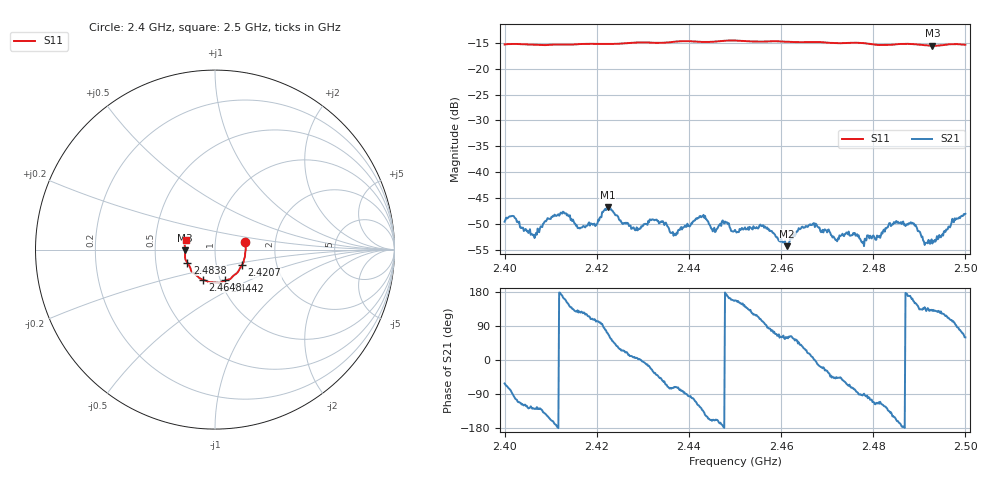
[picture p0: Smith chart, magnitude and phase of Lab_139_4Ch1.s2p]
# Hz S RI R 50
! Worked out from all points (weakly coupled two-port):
!   601 points, 2.4 GHz to 2.5 GHz, reference 50 ohm
!   highest |S21| = -46.81 dB at 2.4223 GHz (marker M1); lowest = -54.3 dB at 2.4613 GHz (marker M2)
!   lowest |S11| = -15.6 dB at 2.4928 GHz (marker M3), VSWR 1.40, Z = 35.7 - j0.341 ohm
!   |S11| at or under -10 dB: start of sweep to end of sweep
!   S12 and S22 are empty: the file has one direction only
!   S11 on the Smith chart (normalised r, x): 2.4 GHz: 1.39, +0.12; 2.4207 GHz: 1.33, -0.24; 2.4442 GHz: 1.05, -0.37; 2.4648 GHz: 0.83, -0.29; 2.4838 GHz: 0.73, -0.11; 2.5 GHz: 0.72, +0.08
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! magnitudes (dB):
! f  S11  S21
! 2.4 GHz  -15.3  -49.6
! 2.4065 GHz  -15.4  -52.7
! 2.4127 GHz  -15.3  -47.6
! 2.4167 GHz  -15.2  -50.7
! 2.4207 GHz  -15.2  -48.8
! 2.4223 GHz  -15.2  -46.8
! 2.428 GHz  -15.0  -50.7
! 2.4333 GHz  -15.0  -49.4
! 2.437 GHz  -14.8  -52.1
! 2.4427 GHz  -14.8  -48.7
! 2.4442 GHz  -14.8  -49.5
! 2.45 GHz  -14.6  -51.2
! 2.456 GHz  -14.8  -50.3
! 2.4613 GHz  -14.8  -54.3
! 2.4648 GHz  -14.9  -50.8
! 2.4667 GHz  -14.8  -50.1
! 2.4777 GHz  -15.0  -53.6
! 2.4833 GHz  -15.4  -50.2
! 2.4838 GHz  -15.4  -50.4
! 2.4887 GHz  -15.3  -49.9
! 2.4928 GHz  -15.6  -53.8
! 2.5 GHz  -15.4  -48.1
